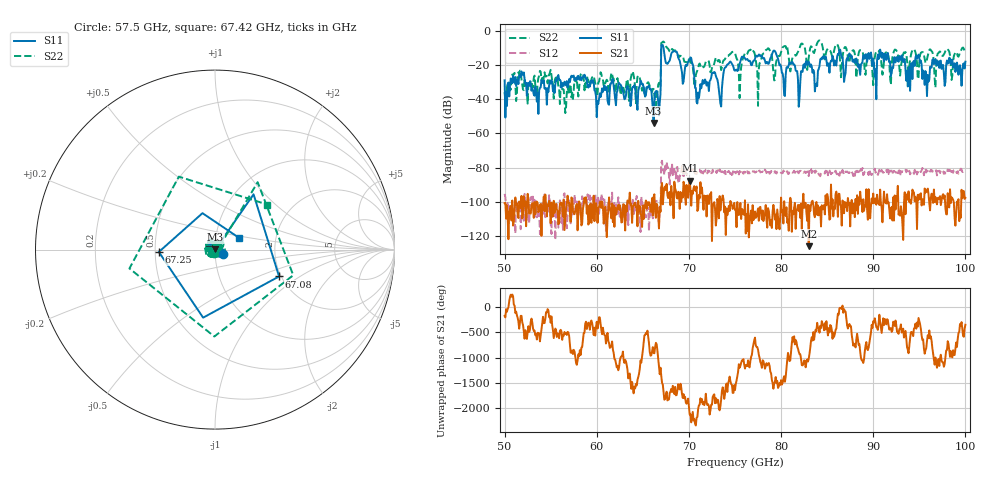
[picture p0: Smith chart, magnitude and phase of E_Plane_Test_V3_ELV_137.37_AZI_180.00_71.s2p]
! 11/26/2026 4:47:13 PM
! C:\ANRITSUVNA\TEMP\TEMP.S2P
! CHANNEL.1
! TR.MEASUREMENT
! RAW.DATA
# HZ S RI R 50.0
! FREQ.HZ  S11RE  S11IM  S21RE  S21IM  S12RE  S12IM  S22RE  S22IM
!; PortSelection: Port_12
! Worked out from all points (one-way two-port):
!   601 points, 50 GHz to 100 GHz, reference 50 ohm
!   highest |S21| = -87.76 dB at 70.08 GHz (marker M1); lowest = -126.0 dB at 83 GHz (marker M2)
!   lowest |S11| = -53.9 dB at 66.17 GHz (marker M3), VSWR 1.00, Z = 50.1 + j0.148 ohm
!   |S11| at or under -10 dB: start of sweep to 67 GHz; 67.25 GHz to end of sweep
!   |S22| runs from -48.1 to -5.6 dB; largest |S21 - S12| = 0.00017
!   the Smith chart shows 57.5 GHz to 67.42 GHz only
!   S11 on the Smith chart (normalised r, x): 57.5 GHz: 1.09, -0.05; 67.08 GHz: 1.95, -0.69; 67.25 GHz: 0.52, -0.02; 67.42 GHz: 1.29, +0.18
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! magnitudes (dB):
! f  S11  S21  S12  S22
! 50 GHz  -28.9  -100.9  -95.4  -35.8
! 51.67 GHz  -26.3  -100.9  -103.1  -23.2
! 57.5 GHz  -26.1  -106.7  -104.7  -34.6
! 58.42 GHz  -27.1  -112.6  -96.8  -24.7
! 60.17 GHz  -42.7  -103.8  -97.8  -30.4
! 66.17 GHz  -53.9  -97.4  -101.7  -34.0
! 66.67 GHz  -41.5  -106.8  -106.3  -31.6
! 67.08 GHz  -8.2  -89.0  -76.0  -6.8
! 67.25 GHz  -10.1  -95.8  -81.3  -6.2
! 67.42 GHz  -16.6  -91.1  -78.5  -8.3
! 70.08 GHz  -16.9  -87.8  -80.9  -17.0
! 70.92 GHz  -42.5  -105.4  -82.1  -23.1
! 75 GHz  -23.3  -104.7  -82.7  -13.0
! 79.25 GHz  -11.5  -105.1  -82.9  -29.0
! 82.08 GHz  -30.0  -109.5  -81.9  -8.6
! 83 GHz  -18.0  -126.0  -85.0  -15.6
! 83.42 GHz  -24.5  -99.4  -81.2  -10.8
! 91.67 GHz  -16.7  -100.3  -83.8  -15.2
! 93.75 GHz  -32.5  -98.8  -83.3  -21.3
! 94.83 GHz  -15.0  -96.0  -82.5  -28.2
! 95.83 GHz  -38.1  -94.0  -81.8  -16.6
! 100 GHz  -18.0  -97.8  -82.2  -12.6
